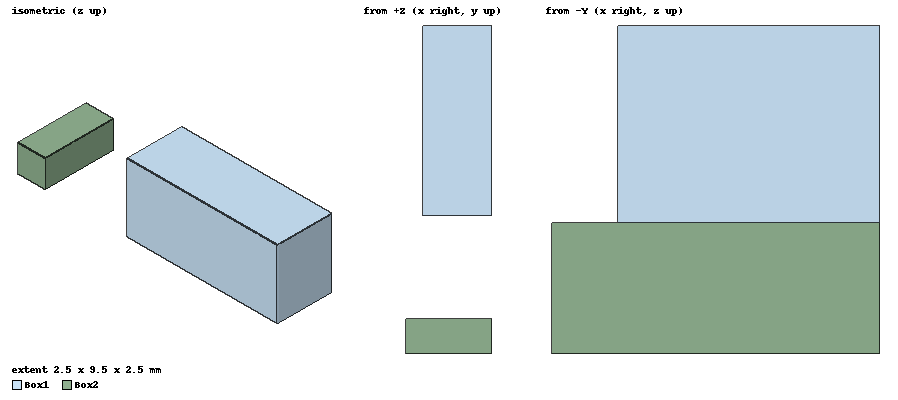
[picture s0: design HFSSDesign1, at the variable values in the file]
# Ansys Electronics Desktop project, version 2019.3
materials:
  Rogers RO4003 (tm): permittivity=3.55 dielectric_loss_tangent=0.0027
  pec: conductivity=1e+30
  vacuum: permittivity=1
  Rogers RT/duroid 5870 (tm): permittivity=2.33 dielectric_loss_tangent=0.0012
  FR4_epoxy: permittivity=4.4 dielectric_loss_tangent=0.02

design HFSSDesign1 (HFSS, DrivenModal, model units mm)
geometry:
  Box1 [vacuum] = box(corner=(1.5mm, -2mm, 0mm), size=(-2mm, 5.5mm, 2.5mm))
  Box2 [FR4_epoxy] = box(corner=(1.5mm, -5mm, 0mm), size=(-2.5mm, -1mm, 1mm))
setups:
  Setup1: HfssDriven Frequency=2.3GHz MaxDeltaE=0.1 MaximumPasses=20 MinimumPasses=1 MinimumConvergedPasses=1 PercentRefinement=30 BasisOrder=1
    sweep Sweep: 2.2GHz to 2.5GHz, 101 points; Type=Fast SaveFields
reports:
  S Parameter Plot 1: S(1,1) on Setup1 : Sweep [Freq=all]
  S Parameter Plot 2: dB(S(1,1)) vs Freq on Setup1 : Sweep
